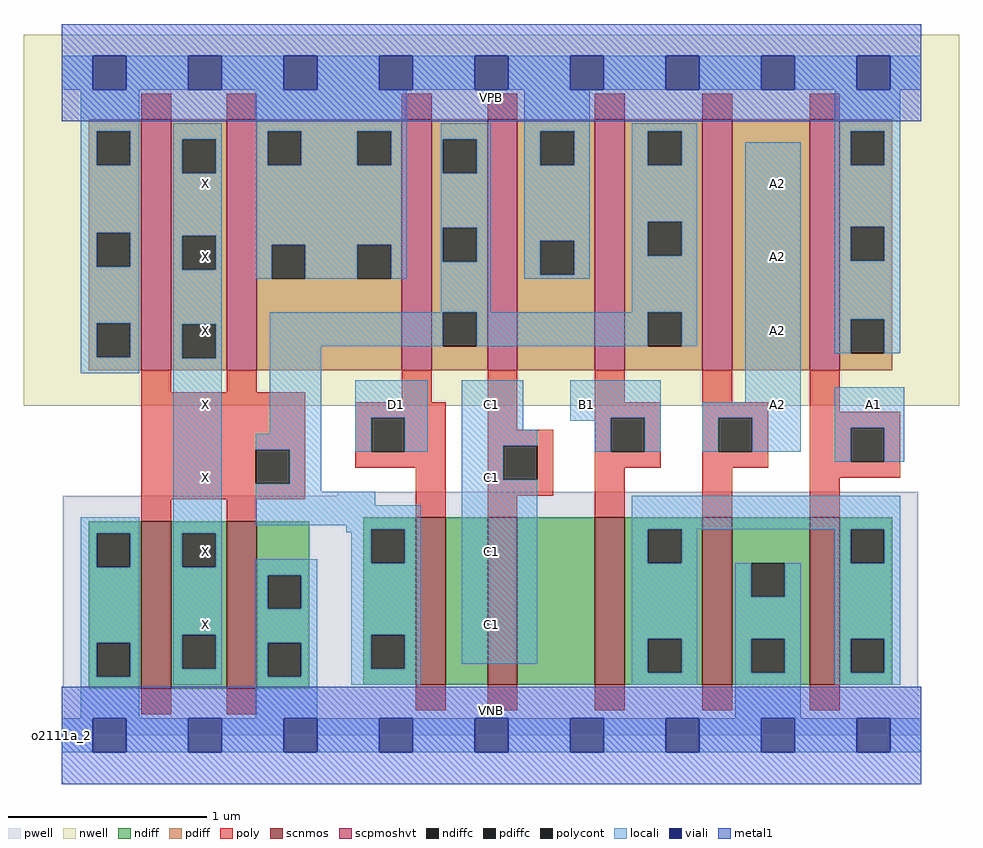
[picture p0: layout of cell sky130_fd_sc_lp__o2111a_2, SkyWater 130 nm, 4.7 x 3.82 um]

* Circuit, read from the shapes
.subckt sky130_fd_sc_lp__o2111a_2 A1 A2 B1 C1 D1 VGND VNB VPB VPWR X
XM1 X n1 VGND VNB sky130_fd_pr__nfet_01v8 w=0.84 l=0.15 m=2
XM2 n2 D1 n1 VNB sky130_fd_pr__nfet_01v8 w=0.84 l=0.15
XM3 n3 C1 n2 VNB sky130_fd_pr__nfet_01v8 w=0.84 l=0.15
XM4 n4 B1 n3 VNB sky130_fd_pr__nfet_01v8 w=0.84 l=0.15
XM5 VGND A2 n4 VNB sky130_fd_pr__nfet_01v8 w=0.84 l=0.15
XM6 n4 A1 VGND VNB sky130_fd_pr__nfet_01v8 w=0.84 l=0.15
XM7 X n1 VPWR VPB sky130_fd_pr__pfet_01v8_hvt w=1.26 l=0.15 m=2
XM8 n1 D1 VPWR VPB sky130_fd_pr__pfet_01v8_hvt w=1.26 l=0.15
XM9 VPWR C1 n1 VPB sky130_fd_pr__pfet_01v8_hvt w=1.26 l=0.15
XM10 n1 B1 VPWR VPB sky130_fd_pr__pfet_01v8_hvt w=1.26 l=0.15
XM11 n5 A2 n1 VPB sky130_fd_pr__pfet_01v8_hvt w=1.26 l=0.15
XM12 VPWR A1 n5 VPB sky130_fd_pr__pfet_01v8_hvt w=1.26 l=0.15
.ends

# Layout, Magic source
magic
tech sky130A
magscale 1 2
<< nwell >>
rect -38 331 902 704
<< pwell >>
rect 277 241 861 245
rect 1 49 861 241
rect 0 0 864 49
<< scnmos >>
rect 80 47 110 215
rect 166 47 196 215
rect 356 51 386 219
rect 428 51 458 219
rect 536 51 566 219
rect 644 51 674 219
rect 752 51 782 219
<< scpmoshvt >>
rect 80 367 110 619
rect 166 367 196 619
rect 342 367 372 619
rect 428 367 458 619
rect 536 367 566 619
rect 644 367 674 619
rect 752 367 782 619
<< ndiff >>
rect 27 203 80 215
rect 27 169 35 203
rect 69 169 80 203
rect 27 93 80 169
rect 27 59 35 93
rect 69 59 80 93
rect 27 47 80 59
rect 110 203 166 215
rect 110 169 121 203
rect 155 169 166 203
rect 110 101 166 169
rect 110 67 121 101
rect 155 67 166 101
rect 110 47 166 67
rect 196 161 249 215
rect 196 127 207 161
rect 241 127 249 161
rect 196 93 249 127
rect 196 59 207 93
rect 241 59 249 93
rect 196 47 249 59
rect 303 207 356 219
rect 303 173 311 207
rect 345 173 356 207
rect 303 101 356 173
rect 303 67 311 101
rect 345 67 356 101
rect 303 51 356 67
rect 386 51 428 219
rect 458 51 536 219
rect 566 207 644 219
rect 566 173 589 207
rect 623 173 644 207
rect 566 97 644 173
rect 566 63 589 97
rect 623 63 644 97
rect 566 51 644 63
rect 674 173 752 219
rect 674 139 693 173
rect 727 139 752 173
rect 674 97 752 139
rect 674 63 693 97
rect 727 63 752 97
rect 674 51 752 63
rect 782 207 835 219
rect 782 173 793 207
rect 827 173 835 207
rect 782 97 835 173
rect 782 63 793 97
rect 827 63 835 97
rect 782 51 835 63
<< pdiff >>
rect 27 607 80 619
rect 27 573 35 607
rect 69 573 80 607
rect 27 505 80 573
rect 27 471 35 505
rect 69 471 80 505
rect 27 414 80 471
rect 27 380 35 414
rect 69 380 80 414
rect 27 367 80 380
rect 110 599 166 619
rect 110 565 121 599
rect 155 565 166 599
rect 110 502 166 565
rect 110 468 121 502
rect 155 468 166 502
rect 110 413 166 468
rect 110 379 121 413
rect 155 379 166 413
rect 110 367 166 379
rect 196 607 342 619
rect 196 573 207 607
rect 241 573 297 607
rect 331 573 342 607
rect 196 493 342 573
rect 196 459 211 493
rect 245 459 297 493
rect 331 459 342 493
rect 196 367 342 459
rect 372 599 428 619
rect 372 565 383 599
rect 417 565 428 599
rect 372 510 428 565
rect 372 476 383 510
rect 417 476 428 510
rect 372 425 428 476
rect 372 391 383 425
rect 417 391 428 425
rect 372 367 428 391
rect 458 607 536 619
rect 458 573 481 607
rect 515 573 536 607
rect 458 497 536 573
rect 458 463 481 497
rect 515 463 536 497
rect 458 367 536 463
rect 566 607 644 619
rect 566 573 589 607
rect 623 573 644 607
rect 566 516 644 573
rect 566 482 589 516
rect 623 482 644 516
rect 566 425 644 482
rect 566 391 589 425
rect 623 391 644 425
rect 566 367 644 391
rect 674 367 752 619
rect 782 607 835 619
rect 782 573 793 607
rect 827 573 835 607
rect 782 511 835 573
rect 782 477 793 511
rect 827 477 835 511
rect 782 418 835 477
rect 782 384 793 418
rect 827 384 835 418
rect 782 367 835 384
<< ndiffc >>
rect 35 169 69 203
rect 35 59 69 93
rect 121 169 155 203
rect 121 67 155 101
rect 207 127 241 161
rect 207 59 241 93
rect 311 173 345 207
rect 311 67 345 101
rect 589 173 623 207
rect 589 63 623 97
rect 693 139 727 173
rect 693 63 727 97
rect 793 173 827 207
rect 793 63 827 97
<< pdiffc >>
rect 35 573 69 607
rect 35 471 69 505
rect 35 380 69 414
rect 121 565 155 599
rect 121 468 155 502
rect 121 379 155 413
rect 207 573 241 607
rect 297 573 331 607
rect 211 459 245 493
rect 297 459 331 493
rect 383 565 417 599
rect 383 476 417 510
rect 383 391 417 425
rect 481 573 515 607
rect 481 463 515 497
rect 589 573 623 607
rect 589 482 623 516
rect 589 391 623 425
rect 793 573 827 607
rect 793 477 827 511
rect 793 384 827 418
<< poly >>
rect 80 619 110 645
rect 166 619 196 645
rect 342 619 372 645
rect 428 619 458 645
rect 536 619 566 645
rect 644 619 674 645
rect 752 619 782 645
rect 80 345 110 367
rect 166 345 196 367
rect 80 287 245 345
rect 342 335 372 367
rect 80 253 195 287
rect 229 253 245 287
rect 295 319 386 335
rect 295 285 311 319
rect 345 285 386 319
rect 295 269 386 285
rect 80 237 245 253
rect 80 215 110 237
rect 166 215 196 237
rect 356 219 386 269
rect 428 307 458 367
rect 536 335 566 367
rect 644 335 674 367
rect 536 319 602 335
rect 428 291 494 307
rect 428 257 444 291
rect 478 257 494 291
rect 428 241 494 257
rect 536 285 552 319
rect 586 285 602 319
rect 536 269 602 285
rect 644 319 710 335
rect 644 285 660 319
rect 694 285 710 319
rect 644 269 710 285
rect 752 325 782 367
rect 752 309 843 325
rect 752 275 793 309
rect 827 275 843 309
rect 428 219 458 241
rect 536 219 566 269
rect 644 219 674 269
rect 752 259 843 275
rect 752 219 782 259
rect 80 21 110 47
rect 166 21 196 47
rect 356 25 386 51
rect 428 25 458 51
rect 536 25 566 51
rect 644 25 674 51
rect 752 25 782 51
<< polycont >>
rect 195 253 229 287
rect 311 285 345 319
rect 444 257 478 291
rect 552 285 586 319
rect 660 285 694 319
rect 793 275 827 309
<< locali >>
rect 0 649 31 683
rect 65 649 127 683
rect 161 649 223 683
rect 257 649 319 683
rect 353 649 415 683
rect 449 649 511 683
rect 545 649 607 683
rect 641 649 703 683
rect 737 649 799 683
rect 833 649 864 683
rect 19 607 78 649
rect 19 573 35 607
rect 69 573 78 607
rect 19 505 78 573
rect 19 471 35 505
rect 69 471 78 505
rect 19 414 78 471
rect 19 380 35 414
rect 69 380 78 414
rect 19 364 78 380
rect 112 599 161 615
rect 112 565 121 599
rect 155 565 161 599
rect 112 502 161 565
rect 112 468 121 502
rect 155 468 161 502
rect 112 413 161 468
rect 195 607 347 649
rect 195 573 207 607
rect 241 573 297 607
rect 331 573 347 607
rect 195 493 347 573
rect 195 459 211 493
rect 245 459 297 493
rect 331 459 347 493
rect 381 599 431 615
rect 381 565 383 599
rect 417 565 431 599
rect 381 510 431 565
rect 381 476 383 510
rect 417 476 431 510
rect 381 425 431 476
rect 465 607 531 649
rect 465 573 481 607
rect 515 573 531 607
rect 465 497 531 573
rect 465 463 481 497
rect 515 463 531 497
rect 465 459 531 463
rect 573 607 639 615
rect 573 573 589 607
rect 623 573 639 607
rect 777 607 843 649
rect 573 516 639 573
rect 573 482 589 516
rect 623 482 639 516
rect 573 425 639 482
rect 112 379 121 413
rect 155 379 161 413
rect 19 203 78 219
rect 19 169 35 203
rect 69 169 78 203
rect 19 93 78 169
rect 19 59 35 93
rect 69 59 78 93
rect 19 17 78 59
rect 112 203 161 379
rect 209 391 383 425
rect 417 391 589 425
rect 623 391 639 425
rect 209 303 261 391
rect 195 287 261 303
rect 229 253 261 287
rect 295 319 368 357
rect 295 285 311 319
rect 345 285 368 319
rect 402 307 464 357
rect 511 319 602 357
rect 687 335 743 596
rect 777 573 793 607
rect 827 573 843 607
rect 777 511 843 573
rect 777 477 793 511
rect 827 477 843 511
rect 777 418 843 477
rect 777 384 793 418
rect 827 384 843 418
rect 511 316 552 319
rect 402 291 478 307
rect 195 245 261 253
rect 402 257 444 291
rect 536 285 552 316
rect 586 285 602 319
rect 644 319 743 335
rect 644 285 660 319
rect 694 285 743 319
rect 777 309 847 350
rect 777 275 793 309
rect 827 275 847 309
rect 195 231 315 245
rect 195 211 361 231
rect 286 207 361 211
rect 286 204 311 207
rect 112 169 121 203
rect 155 169 161 203
rect 112 101 161 169
rect 112 67 121 101
rect 155 67 161 101
rect 112 51 161 67
rect 195 161 257 177
rect 195 127 207 161
rect 241 127 257 161
rect 195 93 257 127
rect 195 59 207 93
rect 241 59 257 93
rect 195 17 257 59
rect 291 173 311 204
rect 345 173 361 207
rect 291 101 361 173
rect 291 67 311 101
rect 345 67 361 101
rect 402 72 478 257
rect 573 207 843 241
rect 573 173 589 207
rect 623 173 639 207
rect 777 173 793 207
rect 827 173 843 207
rect 573 97 639 173
rect 291 51 361 67
rect 573 63 589 97
rect 623 63 639 97
rect 573 51 639 63
rect 677 139 693 173
rect 727 139 743 173
rect 677 97 743 139
rect 677 63 693 97
rect 727 63 743 97
rect 677 17 743 63
rect 777 97 843 173
rect 777 63 793 97
rect 827 63 843 97
rect 777 51 843 63
rect 0 -17 31 17
rect 65 -17 127 17
rect 161 -17 223 17
rect 257 -17 319 17
rect 353 -17 415 17
rect 449 -17 511 17
rect 545 -17 607 17
rect 641 -17 703 17
rect 737 -17 799 17
rect 833 -17 864 17
<< viali >>
rect 31 649 65 683
rect 127 649 161 683
rect 223 649 257 683
rect 319 649 353 683
rect 415 649 449 683
rect 511 649 545 683
rect 607 649 641 683
rect 703 649 737 683
rect 799 649 833 683
rect 31 -17 65 17
rect 127 -17 161 17
rect 223 -17 257 17
rect 319 -17 353 17
rect 415 -17 449 17
rect 511 -17 545 17
rect 607 -17 641 17
rect 703 -17 737 17
rect 799 -17 833 17
<< metal1 >>
rect 0 683 864 715
rect 0 649 31 683
rect 65 649 127 683
rect 161 649 223 683
rect 257 649 319 683
rect 353 649 415 683
rect 449 649 511 683
rect 545 649 607 683
rect 641 649 703 683
rect 737 649 799 683
rect 833 649 864 683
rect 0 617 864 649
rect 0 17 864 49
rect 0 -17 31 17
rect 65 -17 127 17
rect 161 -17 223 17
rect 257 -17 319 17
rect 353 -17 415 17
rect 449 -17 511 17
rect 545 -17 607 17
rect 641 -17 703 17
rect 737 -17 799 17
rect 833 -17 864 17
rect 0 -49 864 -17
<< labels >>
flabel pwell s 0 0 864 49 0 FreeSans 200 0 0 0 VNB
port 7 nsew ground bidirectional
flabel nwell s 0 617 864 666 0 FreeSans 200 0 0 0 VPB
port 8 nsew power bidirectional
rlabel comment s 0 0 0 0 4 o2111a_2
flabel metal1 s 0 617 864 666 0 FreeSans 340 0 0 0 VPWR
port 9 nsew power bidirectional
flabel metal1 s 0 0 864 49 0 FreeSans 340 0 0 0 VGND
port 6 nsew ground bidirectional
flabel locali s 127 94 161 128 0 FreeSans 340 0 0 0 X
port 10 nsew signal output
flabel locali s 127 168 161 202 0 FreeSans 340 0 0 0 X
port 10 nsew signal output
flabel locali s 127 242 161 276 0 FreeSans 340 0 0 0 X
port 10 nsew signal output
flabel locali s 127 316 161 350 0 FreeSans 340 0 0 0 X
port 10 nsew signal output
flabel locali s 127 390 161 424 0 FreeSans 340 0 0 0 X
port 10 nsew signal output
flabel locali s 127 464 161 498 0 FreeSans 340 0 0 0 X
port 10 nsew signal output
flabel locali s 127 538 161 572 0 FreeSans 340 0 0 0 X
port 10 nsew signal output
flabel locali s 799 316 833 350 0 FreeSans 340 0 0 0 A1
port 1 nsew signal input
flabel locali s 703 316 737 350 0 FreeSans 340 0 0 0 A2
port 2 nsew signal input
flabel locali s 703 390 737 424 0 FreeSans 340 0 0 0 A2
port 2 nsew signal input
flabel locali s 703 464 737 498 0 FreeSans 340 0 0 0 A2
port 2 nsew signal input
flabel locali s 703 538 737 572 0 FreeSans 340 0 0 0 A2
port 2 nsew signal input
flabel locali s 415 94 449 128 0 FreeSans 340 0 0 0 C1
port 4 nsew signal input
flabel locali s 415 168 449 202 0 FreeSans 340 0 0 0 C1
port 4 nsew signal input
flabel locali s 415 242 449 276 0 FreeSans 340 0 0 0 C1
port 4 nsew signal input
flabel locali s 415 316 449 350 0 FreeSans 340 0 0 0 C1
port 4 nsew signal input
flabel locali s 511 316 545 350 0 FreeSans 340 0 0 0 B1
port 3 nsew signal input
flabel locali s 319 316 353 350 0 FreeSans 340 0 0 0 D1
port 5 nsew signal input
<< properties >>
string LEFsite unit
string LEFclass CORE
string FIXED_BBOX 0 0 864 666
string GDS_FILE $PDKPATH/libs.ref/sky130_fd_sc_lp/gds/sky130_fd_sc_lp.gds
string LEFsymmetry X Y R90
string GDS_END 4197216
string GDS_START 4187974
<< end >>
